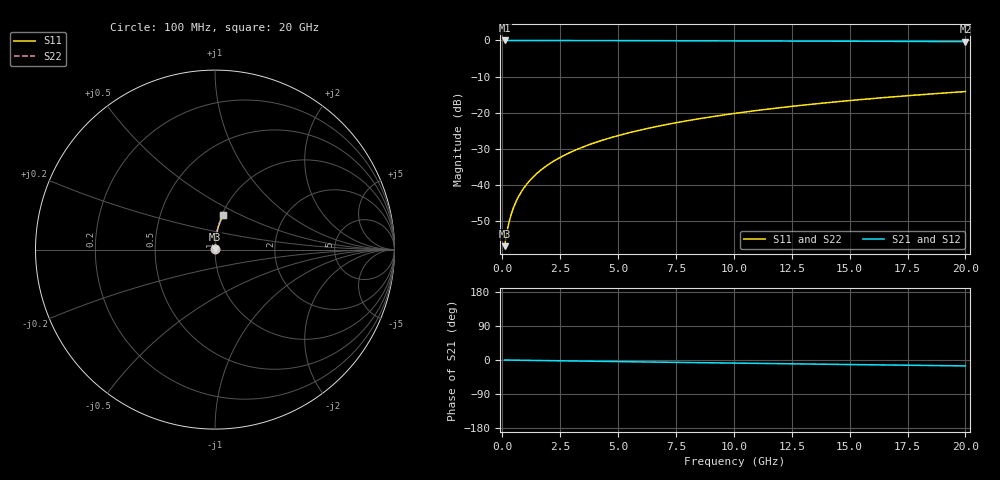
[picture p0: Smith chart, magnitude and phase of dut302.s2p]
! Touchstone file exported from HFSS 2024.1.0
!  File:  C:/UserFiles/LocalFiles/RDL_TSV_Batchsim/temp_RDL_bottom_302_1779610245.aedt
!  Generated:  04:13:15 PM May 24, 2026
!  Design:  RDL_bottom
!  Project:  temp_RDL_bottom_302_1779610245
!  Setup:  Setup1
!  Solution:  Sweep
! Variables:
!  dtsv = 10.80580581um
!  hbump = 3um
!  htsv = 98.82um
!  ldown = 174.4um
!  lrdl = 100um
!  p = 40
!  p1 = 48.7um
!  rhole = 1um
!  t = 450um
!  tdown = 4.91um
!  trdl = 3.915915916um
!  wdown = 14.14um
!  wrdl = 20um
# GHz S MA R 50.000000
! Terminal data exported
! Port[1] = RDL1_T1
! Port[2] = RDL1_T2
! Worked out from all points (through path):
!   200 points, 100 MHz to 20 GHz, reference 50 ohm
!   highest |S21| = -0.01 dB at 100 MHz (marker M1); lowest = -0.3 dB at 20 GHz (marker M2)
!   group delay of S21, straight-line fit = 2.16 ps
!   lowest |S11| = -57.0 dB at 100 MHz (marker M3), VSWR 1.00, Z = 50.1 + j0.1 ohm
!   |S11| at or under -10 dB: start of sweep to end of sweep
!   |S22| runs from -57.0 to -14.2 dB; largest |S21 - S12| = 6.1e-15
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0.1  0.00142 44.7  0.999 -0.1  0.999 -0.1  0.00142 44.7
! Gamma 0 0 0 0
! Port Impedance 50 0 50 0
0.2  0.002238 62.4  0.999 -0.2  0.999 -0.2  0.002238 62.4
0.3  0.003139 70.1  0.9989 -0.3  0.9989 -0.3  0.003139 70.1
0.4  0.004061 74.3  0.9989 -0.3  0.9989 -0.3  0.004061 74.3
0.5  0.004992 77.0  0.9988 -0.4  0.9988 -0.4  0.004992 77.0
0.6  0.005929 78.9  0.9988 -0.5  0.9988 -0.5  0.005929 78.9
0.8  0.007815 81.3  0.9987 -0.7  0.9987 -0.7  0.007815 81.3
1.1  0.01066 83.3  0.9986 -1.0  0.9986 -1.0  0.01066 83.3
1.5  0.01447 84.7  0.9984 -1.3  0.9984 -1.3  0.01447 84.7
1.8  0.01734 85.3  0.9982 -1.5  0.9982 -1.5  0.01734 85.3
2.1  0.02021 85.6  0.9979 -1.8  0.9979 -1.8  0.02021 85.6
2.7  0.02596 86.0  0.9974 -2.3  0.9974 -2.3  0.02596 86.0
3.5  0.03364 86.2  0.9965 -3.0  0.9965 -3.0  0.03364 86.2
4.2  0.04038 86.2  0.9956 -3.6  0.9956 -3.6  0.04038 86.2
5  0.04811 86.1  0.9944 -4.2  0.9944 -4.2  0.04811 86.1
5.9  0.05685 85.8  0.993 -5.0  0.993 -5.0  0.05685 85.8
6.8  0.06565 85.5  0.9914 -5.7  0.9914 -5.7  0.06565 85.5
8.3  0.08043 84.8  0.9887 -6.9  0.9887 -6.9  0.08043 84.8
10.1  0.09831 83.7  0.9852 -8.3  0.9852 -8.3  0.09831 83.7
13.4  0.1312 81.5  0.9785 -10.8  0.9785 -10.8  0.1312 81.5
16.7  0.1639 79.1  0.9713 -13.2  0.9713 -13.2  0.1639 79.1
20  0.1959 76.6  0.9635 -15.6  0.9635 -15.6  0.1959 76.6
